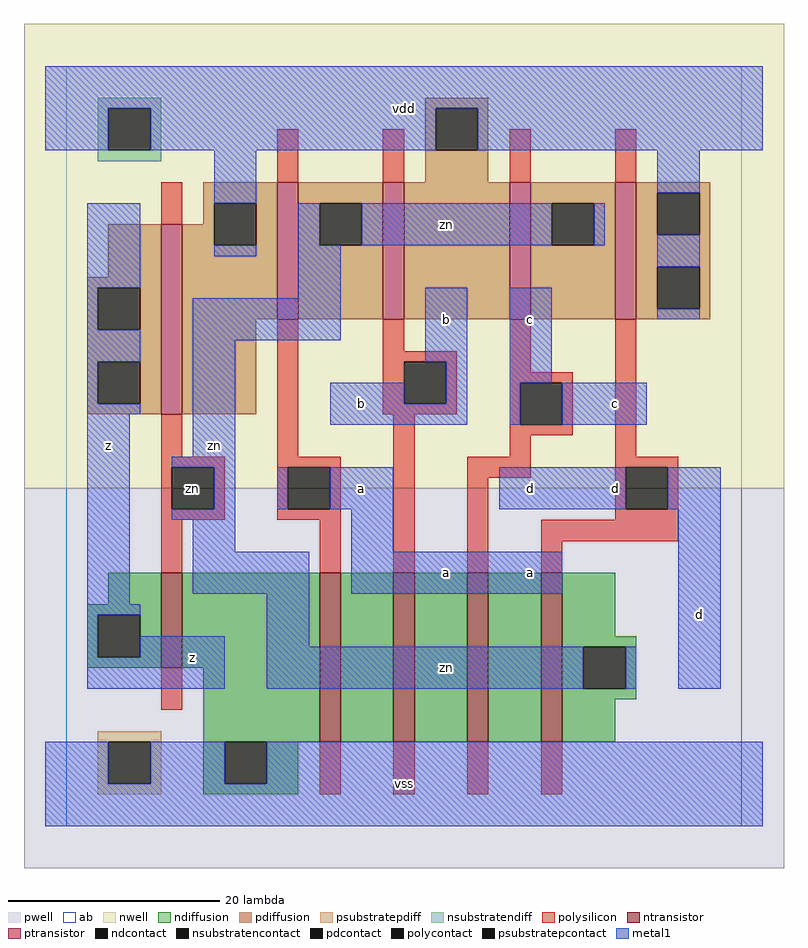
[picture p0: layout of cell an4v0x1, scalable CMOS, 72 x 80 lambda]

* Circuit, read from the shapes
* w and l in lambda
.subckt an4v0x1 a b c d vdd vss z zn
M1 vss zn z vss nfet w=9 l=2
M2 n1 a vss vss nfet w=16 l=2
M3 n2 b n1 vss nfet w=16 l=2
M4 n3 c n2 vss nfet w=16 l=2
M5 zn d n3 vss nfet w=16 l=2
M6 vdd zn z vdd pfet w=18 l=2
M7 zn a vdd vdd pfet w=13 l=2
M8 vdd b zn vdd pfet w=13 l=2
M9 zn c vdd vdd pfet w=13 l=2
M10 vdd d zn vdd pfet w=13 l=2
.ends

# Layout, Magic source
magic
tech scmos
<< ab >>
rect 0 0 64 72
<< pwell >>
rect -4 -4 68 32
<< nwell >>
rect -4 32 68 76
<< polysilicon >>
rect 20 61 22 66
rect 30 61 32 66
rect 42 61 44 66
rect 52 61 54 66
rect 9 57 11 61
rect 9 35 11 39
rect 20 35 22 48
rect 30 45 32 48
rect 30 44 37 45
rect 30 40 32 44
rect 36 40 37 44
rect 30 39 37 40
rect 42 43 44 48
rect 42 42 48 43
rect 9 34 15 35
rect 9 30 10 34
rect 14 30 15 34
rect 9 29 15 30
rect 20 34 26 35
rect 20 30 21 34
rect 25 30 26 34
rect 20 29 26 30
rect 9 24 11 29
rect 24 24 26 29
rect 31 24 33 39
rect 42 38 43 42
rect 47 38 48 42
rect 42 37 48 38
rect 42 35 44 37
rect 38 33 44 35
rect 52 35 54 48
rect 52 34 58 35
rect 38 24 40 33
rect 52 30 53 34
rect 57 30 58 34
rect 52 29 58 30
rect 45 27 58 29
rect 45 24 47 27
rect 9 11 11 15
rect 24 3 26 8
rect 31 3 33 8
rect 38 3 40 8
rect 45 3 47 8
<< ndiffusion >>
rect 4 21 9 24
rect 2 20 9 21
rect 2 16 3 20
rect 7 16 9 20
rect 2 15 9 16
rect 11 15 24 24
rect 13 8 24 15
rect 26 8 31 24
rect 33 8 38 24
rect 40 8 45 24
rect 47 18 52 24
rect 47 17 54 18
rect 47 13 49 17
rect 53 13 54 17
rect 47 12 54 13
rect 47 8 52 12
rect 13 4 15 8
rect 19 4 22 8
rect 13 3 22 4
<< pdiffusion >>
rect 34 68 40 69
rect 34 64 35 68
rect 39 64 40 68
rect 34 61 40 64
rect 13 59 20 61
rect 13 57 14 59
rect 4 52 9 57
rect 2 51 9 52
rect 2 47 3 51
rect 7 47 9 51
rect 2 44 9 47
rect 2 40 3 44
rect 7 40 9 44
rect 2 39 9 40
rect 11 55 14 57
rect 18 55 20 59
rect 11 48 20 55
rect 22 59 30 61
rect 22 55 24 59
rect 28 55 30 59
rect 22 48 30 55
rect 32 48 42 61
rect 44 59 52 61
rect 44 55 46 59
rect 50 55 52 59
rect 44 48 52 55
rect 54 60 61 61
rect 54 56 56 60
rect 60 56 61 60
rect 54 53 61 56
rect 54 49 56 53
rect 60 49 61 53
rect 54 48 61 49
rect 11 39 18 48
<< metal1 >>
rect -2 68 66 72
rect -2 64 4 68
rect 8 64 35 68
rect 39 64 66 68
rect 14 59 18 64
rect 56 60 60 64
rect 2 51 7 59
rect 14 54 18 55
rect 22 55 24 59
rect 28 55 46 59
rect 50 55 51 59
rect 2 47 3 51
rect 22 50 26 55
rect 56 53 60 56
rect 2 44 7 47
rect 2 40 3 44
rect 2 39 7 40
rect 12 46 26 50
rect 2 21 6 39
rect 12 35 16 46
rect 34 44 38 51
rect 25 40 32 42
rect 36 40 38 44
rect 25 38 38 40
rect 42 42 46 51
rect 56 48 60 49
rect 42 38 43 42
rect 47 38 55 42
rect 10 34 16 35
rect 14 30 16 34
rect 20 30 21 34
rect 25 30 31 34
rect 41 30 53 34
rect 57 30 62 34
rect 10 29 16 30
rect 12 26 16 29
rect 27 26 31 30
rect 12 22 23 26
rect 27 22 47 26
rect 2 20 7 21
rect 2 16 3 20
rect 7 16 15 18
rect 2 13 15 16
rect 19 17 23 22
rect 19 13 49 17
rect 53 13 54 17
rect 58 13 62 30
rect -2 4 4 8
rect 8 4 15 8
rect 19 4 66 8
rect -2 0 66 4
<< ntransistor >>
rect 9 15 11 24
rect 24 8 26 24
rect 31 8 33 24
rect 38 8 40 24
rect 45 8 47 24
<< ptransistor >>
rect 9 39 11 57
rect 20 48 22 61
rect 30 48 32 61
rect 42 48 44 61
rect 52 48 54 61
<< polycontact >>
rect 32 40 36 44
rect 10 30 14 34
rect 21 30 25 34
rect 43 38 47 42
rect 53 30 57 34
<< ndcontact >>
rect 3 16 7 20
rect 49 13 53 17
rect 15 4 19 8
<< pdcontact >>
rect 35 64 39 68
rect 3 47 7 51
rect 3 40 7 44
rect 14 55 18 59
rect 24 55 28 59
rect 46 55 50 59
rect 56 56 60 60
rect 56 49 60 53
<< psubstratepcontact >>
rect 4 4 8 8
<< nsubstratencontact >>
rect 4 64 8 68
<< psubstratepdiff >>
rect 3 8 9 9
rect 3 4 4 8
rect 8 4 9 8
rect 3 3 9 4
<< nsubstratendiff >>
rect 3 68 9 69
rect 3 64 4 68
rect 8 64 9 68
rect 3 63 9 64
<< labels >>
rlabel polycontact 12 32 12 32 6 zn
rlabel metal1 12 16 12 16 6 z
rlabel metal1 4 36 4 36 6 z
rlabel metal1 28 32 28 32 6 a
rlabel metal1 28 40 28 40 6 b
rlabel metal1 14 36 14 36 6 zn
rlabel metal1 32 4 32 4 6 vss
rlabel metal1 36 24 36 24 6 a
rlabel metal1 44 24 44 24 6 a
rlabel metal1 44 32 44 32 6 d
rlabel metal1 36 48 36 48 6 b
rlabel metal1 44 48 44 48 6 c
rlabel metal1 32 68 32 68 6 vdd
rlabel metal1 36 15 36 15 6 zn
rlabel metal1 60 20 60 20 6 d
rlabel metal1 52 32 52 32 6 d
rlabel metal1 52 40 52 40 6 c
rlabel metal1 36 57 36 57 6 zn
<< end >>
